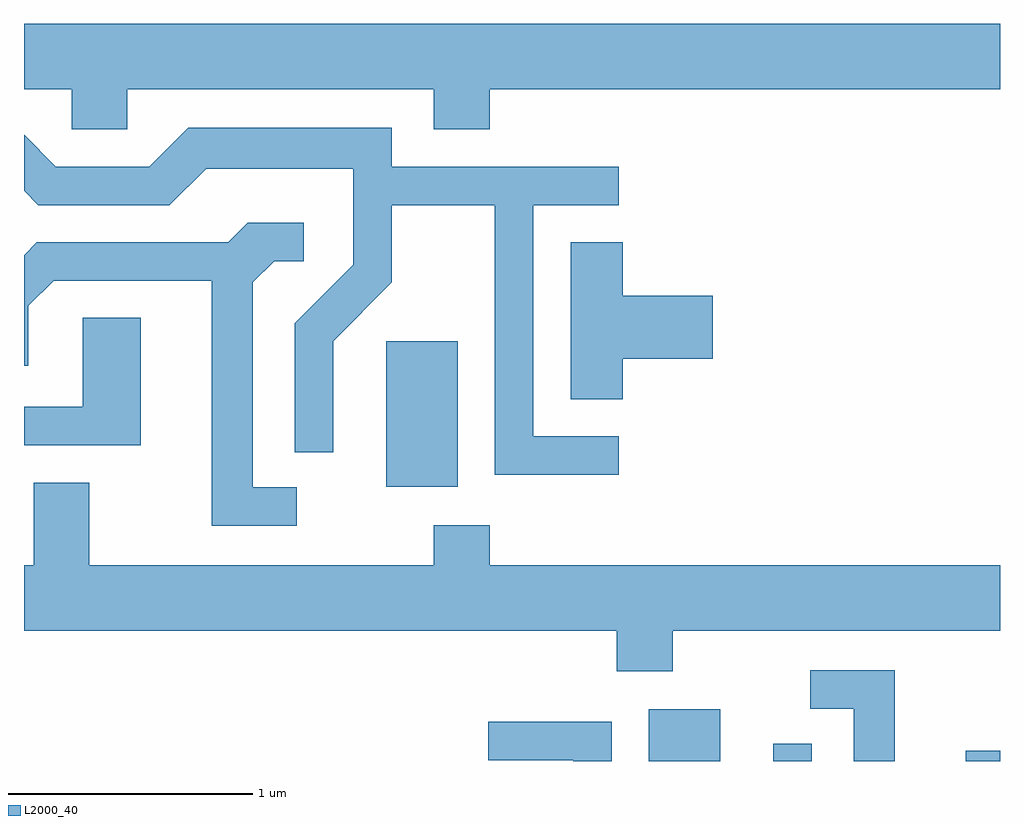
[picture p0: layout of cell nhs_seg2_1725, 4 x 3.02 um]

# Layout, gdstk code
import gdstk
lib = gdstk.Library(unit=1e-6, precision=1e-09)
def R(c, l, rs):  # rectangles x0, y0, x1, y1
    for r in rs: c.add(gdstk.rectangle(r[:2], r[2:], *l))
def P(c, l, *ps):  # polygons
    for p in ps: c.add(gdstk.Polygon(p, *l))
L2000_40 = (2000, 40)

nhs_seg2_1725 = lib.new_cell('nhs_seg2_1725')
R(nhs_seg2_1725, L2000_40, [(238.171,1027.802,238.464,1028.014), (238.681,1027.802,238.839,1027.873), (239.471,1027.802,239.611,1027.844), (237.096,1028.926,237.389,1029.524)])
P(nhs_seg2_1725, L2000_40, [(236.034,1030.556),(237.291,1030.556),(237.291,1030.391),(237.519,1030.391),(237.519,1030.556),(239.611,1030.556),(239.611,1030.824),(235.611,1030.824),(235.611,1030.556),(235.806,1030.556),(235.806,1030.391),(236.034,1030.391)],
  [(238.048,1029.134),(237.699,1029.134),(237.699,1030.081),(238.048,1030.081),(238.048,1030.239),(237.119,1030.239),(237.119,1030.399),(236.284,1030.399),(236.124,1030.239),(235.742,1030.239),(235.611,1030.37),(235.611,1030.139),(235.669,1030.081),(236.207,1030.081),(236.357,1030.231),(236.961,1030.231),(236.961,1029.837),(236.721,1029.597),(236.721,1029.068),(236.879,1029.068),(236.879,1029.524),(237.119,1029.764),(237.119,1030.081),(237.541,1030.081),(237.541,1028.976),(238.048,1028.976)],
  [(236.728,1028.924),(236.549,1028.924),(236.549,1029.764),(236.637,1029.851),(236.758,1029.851),(236.758,1030.009),(236.529,1030.009),(236.449,1029.929),(235.664,1029.929),(235.611,1029.876),(235.611,1029.423),(235.629,1029.423),(235.629,1029.669),(235.732,1029.771),(236.381,1029.771),(236.381,1028.766),(236.728,1028.766)],
  [(238.064,1029.451),(238.434,1029.451),(238.434,1029.709),(238.064,1029.709),(238.064,1029.929),(237.851,1029.929),(237.851,1029.286),(238.064,1029.286)],
  [(236.089,1029.619),(235.851,1029.619),(235.851,1029.254),(235.611,1029.254),(235.611,1029.096),(236.089,1029.096)],
  [(238.269,1028.336),(239.611,1028.336),(239.611,1028.604),(237.519,1028.604),(237.519,1028.769),(237.291,1028.769),(237.291,1028.604),(235.879,1028.604),(235.879,1028.944),(235.651,1028.944),(235.651,1028.604),(235.611,1028.604),(235.611,1028.336),(238.041,1028.336),(238.041,1028.171),(238.269,1028.171)],
  [(239.179,1028.174),(238.833,1028.174),(238.833,1028.016),(239.011,1028.016),(239.011,1027.802),(239.179,1027.802)],
  [(238.019,1027.964),(237.513,1027.964),(237.513,1027.806),(237.861,1027.806),(237.861,1027.802),(238.019,1027.802)])

lib.write_gds('nhs_seg2_1725.gds')
